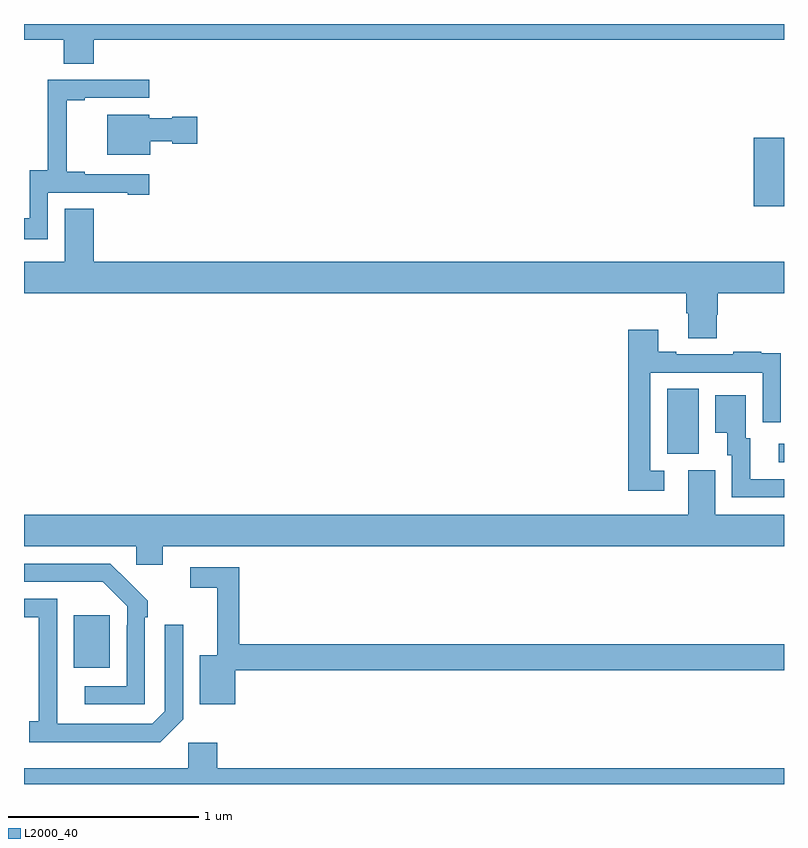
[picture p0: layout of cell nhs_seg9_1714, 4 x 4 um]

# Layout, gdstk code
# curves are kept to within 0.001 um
import gdstk
lib = gdstk.Library(unit=1e-6, precision=1e-09)
def R(c, l, rs):  # rectangles x0, y0, x1, y1
    for r in rs: c.add(gdstk.rectangle(r[:2], r[2:], *l))
def P(c, l, *ps):  # polygons
    for p in ps: c.add(gdstk.Polygon(p, *l))
L2000_40 = (2000, 40)

nhs_seg9_1714 = lib.new_cell('nhs_seg9_1714')
R(nhs_seg9_1714, L2000_40, [(207.263,1197.113,207.451,1197.388), (210.972,1198.194,211,1198.29), (210.386,1198.237,210.55,1198.58), (210.842,1199.542,211,1199.902)])
P(nhs_seg9_1714, L2000_40, [(207,1200.416),(207.208,1200.416),(207.208,1200.292),(207.368,1200.292),(207.368,1200.416),(211,1200.416),(211,1200.5),(207,1200.5)],
  [(207.126,1199.613),(207.545,1199.613),(207.545,1199.601),(207.658,1199.601),(207.658,1199.709),(207.319,1199.709),(207.319,1199.722),(207.224,1199.722),(207.224,1200.099),(207.319,1200.099),(207.319,1200.111),(207.658,1200.111),(207.658,1200.207),(207.124,1200.207),(207.124,1199.729),(207.029,1199.729),(207.029,1199.478),(207,1199.478),(207,1199.367),(207.126,1199.367)],
  [(207.664,1199.882),(207.78,1199.882),(207.78,1199.87),(207.913,1199.87),(207.913,1200.012),(207.78,1200.012),(207.78,1200.004),(207.66,1200.004),(207.66,1200.022),(207.437,1200.022),(207.437,1199.813),(207.664,1199.813)],
  [(210.645,1198.971),(210.65,1198.971),(210.65,1199.084),(211,1199.084),(211,1199.248),(207.368,1199.248),(207.368,1199.528),(207.215,1199.528),(207.215,1199.248),(207,1199.248),(207,1199.084),(210.485,1199.084),(210.485,1198.978),(210.497,1198.978),(210.497,1198.846),(210.645,1198.846)],
  [(210.37,1198.149),(210.297,1198.149),(210.297,1198.665),(210.888,1198.665),(210.888,1198.404),(210.984,1198.404),(210.984,1198.658),(210.983,1198.658),(210.983,1198.767),(210.881,1198.767),(210.881,1198.774),(210.733,1198.774),(210.733,1198.761),(210.433,1198.761),(210.433,1198.774),(210.337,1198.774),(210.337,1198.891),(210.181,1198.891),(210.181,1198.044),(210.37,1198.044)],
  [(211,1198.104),(210.823,1198.104),(210.823,1198.32),(210.799,1198.32),(210.799,1198.546),(210.638,1198.546),(210.638,1198.349),(210.701,1198.349),(210.701,1198.23),(210.726,1198.23),(210.726,1198.008),(211,1198.008)],
  [(207.73,1197.752),(211,1197.752),(211,1197.916),(210.637,1197.916),(210.637,1198.152),(210.497,1198.152),(210.497,1197.916),(207,1197.916),(207,1197.752),(207.591,1197.752),(207.591,1197.654),(207.73,1197.654)],
  [(207.636,1197.377),(207.651,1197.377),(207.651,1197.465),(207.454,1197.66),(207,1197.66),(207,1197.564),(207.415,1197.564),(207.543,1197.435),(207.543,1197.335),(207.54,1197.335),(207.54,1197.015),(207.321,1197.015),(207.321,1196.919),(207.636,1196.919)],
  [(208.113,1197.1),(211,1197.1),(211,1197.236),(208.133,1197.236),(208.133,1197.642),(207.876,1197.642),(207.876,1197.534),(208.016,1197.534),(208.016,1197.178),(207.926,1197.178),(207.926,1196.921),(208.113,1196.921)],
  [(207.837,1196.841),(207.837,1197.337),(207.741,1197.337),(207.741,1196.883),(207.675,1196.817),(207.175,1196.817),(207.174,1197.474),(207,1197.474),(207,1197.378),(207.078,1197.378),(207.078,1196.83),(207.027,1196.83),(207.027,1196.72),(207.716,1196.72)],
  [(208.016,1196.716),(207.864,1196.716),(207.864,1196.584),(207,1196.584),(207,1196.5),(211,1196.5),(211,1196.584),(208.016,1196.584)])

lib.write_gds('nhs_seg9_1714.gds')
